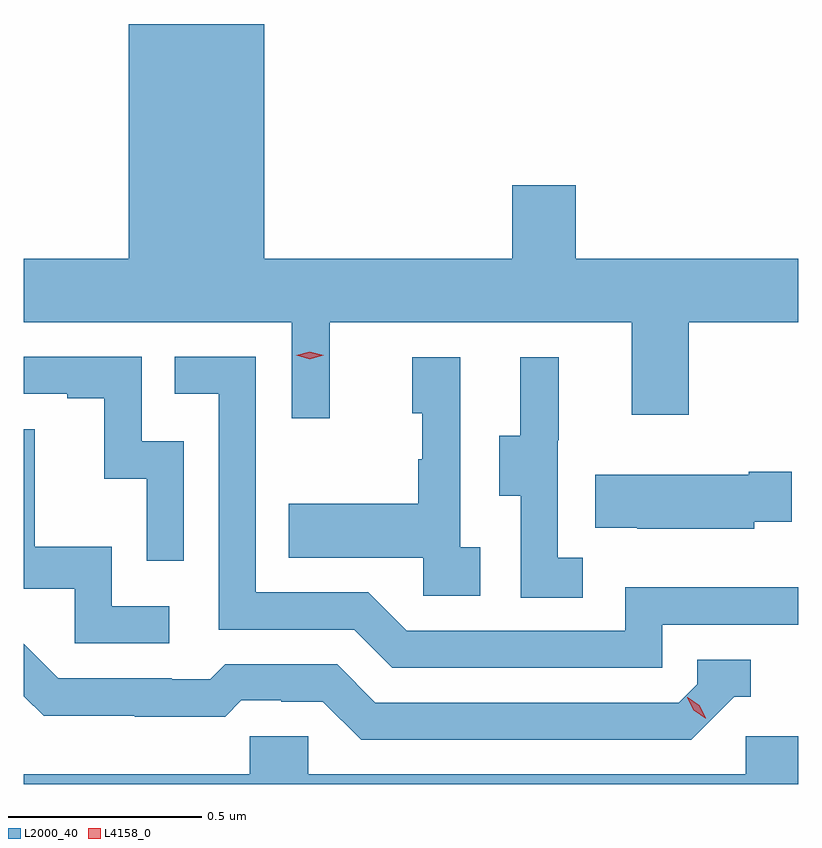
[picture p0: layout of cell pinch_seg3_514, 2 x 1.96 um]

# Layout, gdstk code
import gdstk
lib = gdstk.Library(unit=1e-6, precision=1e-09)
def P(c, l, *ps):  # polygons
    for p in ps: c.add(gdstk.Polygon(p, *l))
L2000_40 = (2000, 40)
L4158_0 = (4158, 0)

pinch_seg3_514 = lib.new_cell('pinch_seg3_514')
P(pinch_seg3_514, L2000_40, [(991.709,678.272),(992.489,678.272),(992.489,678.033),(992.637,678.033),(992.637,678.272),(992.919,678.272),(992.919,678.436),(992.344,678.436),(992.344,678.625),(992.18,678.625),(992.18,678.436),(991.54,678.436),(991.54,679.042),(991.19,679.042),(991.19,678.436),(990.919,678.436),(990.919,678.272),(991.611,678.272),(991.611,678.024),(991.709,678.024)],
  [(992.568,677.49),(992.919,677.49),(992.919,677.587),(992.472,677.587),(992.472,677.475),(991.908,677.475),(991.809,677.574),(991.518,677.574),(991.518,678.183),(991.309,678.183),(991.309,678.087),(991.422,678.087),(991.422,677.478),(991.772,677.478),(991.871,677.379),(992.568,677.379)],
  [(991.332,677.964),(991.224,677.964),(991.224,678.183),(990.919,678.183),(990.919,678.087),(991.031,678.087),(991.031,678.075),(991.127,678.075),(991.127,677.867),(991.236,677.867),(991.236,677.655),(991.332,677.655)],
  [(992.362,677.663),(992.298,677.663),(992.298,677.967),(992.3,677.967),(992.3,678.181),(992.201,678.181),(992.201,677.979),(992.147,677.979),(992.147,677.824),(992.202,677.824),(992.202,677.56),(992.362,677.56)],
  [(992.098,677.69),(992.046,677.69),(992.046,678.181),(991.922,678.181),(991.922,678.036),(991.948,678.036),(991.948,677.918),(991.938,677.918),(991.938,677.803),(991.603,677.803),(991.603,677.663),(991.95,677.663),(991.95,677.565),(992.098,677.565)],
  [(991.294,677.538),(991.146,677.538),(991.146,677.692),(990.947,677.692),(990.947,677.995),(990.919,677.995),(990.919,677.583),(991.05,677.583),(991.05,677.442),(991.294,677.442)],
  [(992.805,677.756),(992.903,677.756),(992.903,677.886),(992.792,677.886),(992.792,677.878),(992.395,677.878),(992.395,677.741),(992.503,677.741),(992.503,677.738),(992.805,677.738)],
  [(992.754,677.304),(992.797,677.304),(992.797,677.4),(992.658,677.4),(992.658,677.337),(992.61,677.289),(991.827,677.289),(991.728,677.388),(991.439,677.388),(991.4,677.349),(991.301,677.349),(991.301,677.352),(991.008,677.352),(990.919,677.441),(990.919,677.306),(990.97,677.255),(991.206,677.255),(991.206,677.253),(991.439,677.253),(991.481,677.295),(991.584,677.295),(991.584,677.292),(991.691,677.292),(991.79,677.193),(992.643,677.193)],
  [(992.919,677.202),(992.784,677.202),(992.784,677.104),(991.653,677.104),(991.653,677.202),(991.503,677.202),(991.503,677.104),(990.919,677.104),(990.919,677.079),(992.919,677.079)])
P(pinch_seg3_514, L4158_0, [(992.679,677.249),(992.649,677.269),(992.633,677.302),(992.633,677.303),(992.634,677.303),(992.664,677.283),(992.68,677.25),(992.68,677.249)],
  [(991.658,678.176),(991.622,678.186),(991.622,678.186),(991.622,678.186),(991.658,678.196),(991.694,678.186),(991.694,678.186),(991.694,678.186)])

lib.write_gds('pinch_seg3_514.gds')
